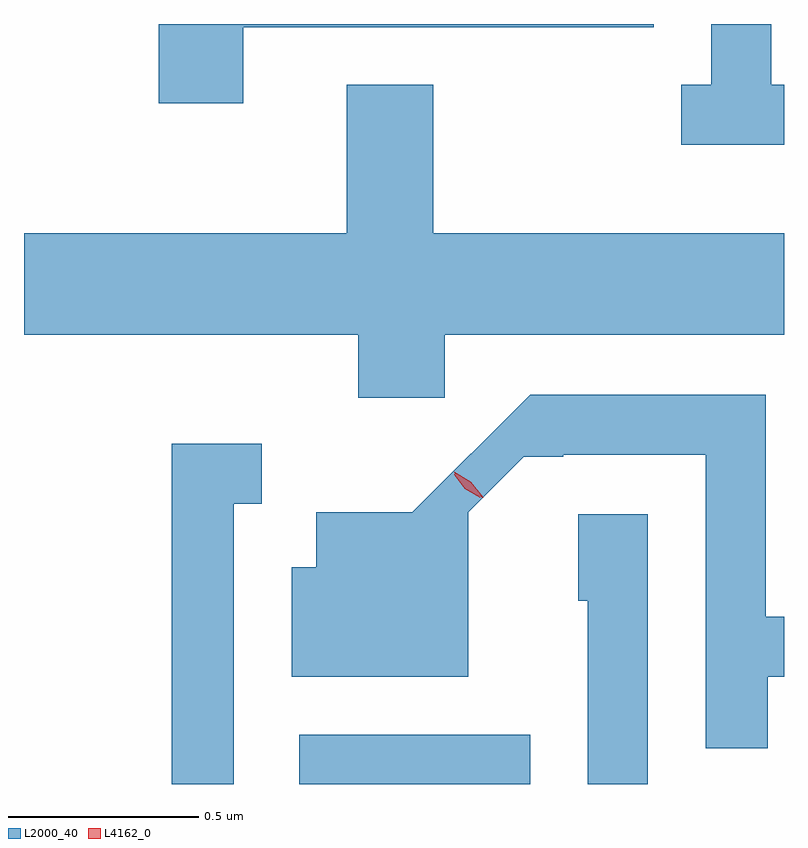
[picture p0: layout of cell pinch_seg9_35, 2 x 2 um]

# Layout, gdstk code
import gdstk
lib = gdstk.Library(unit=1e-6, precision=1e-09)
def R(c, l, rs):  # rectangles x0, y0, x1, y1
    for r in rs: c.add(gdstk.rectangle(r[:2], r[2:], *l))
def P(c, l, *ps):  # polygons
    for p in ps: c.add(gdstk.Polygon(p, *l))
L2000_40 = (2000, 40)
L4162_0 = (4162, 0)

pinch_seg9_35 = lib.new_cell('pinch_seg9_35')
R(pinch_seg9_35, L2000_40, [(1031.136,2010.614,1031.744,2010.744)])
P(pinch_seg9_35, L2000_40, [(1030.989,2012.606),(1032.069,2012.606),(1032.069,2012.614),(1030.766,2012.614),(1030.766,2012.406),(1030.989,2012.406)],
  [(1032.412,2012.454),(1032.379,2012.454),(1032.379,2012.614),(1032.221,2012.614),(1032.221,2012.454),(1032.142,2012.454),(1032.142,2012.296),(1032.412,2012.296)],
  [(1031.519,2011.796),(1032.412,2011.796),(1032.412,2012.064),(1031.489,2012.064),(1031.489,2012.454),(1031.261,2012.454),(1031.261,2012.064),(1030.412,2012.064),(1030.412,2011.796),(1031.291,2011.796),(1031.291,2011.631),(1031.519,2011.631)],
  [(1032.369,2010.896),(1032.412,2010.896),(1032.412,2011.054),(1032.364,2011.054),(1032.364,2011.639),(1031.744,2011.639),(1031.434,2011.329),(1031.181,2011.329),(1031.181,2011.184),(1031.116,2011.184),(1031.116,2010.896),(1031.581,2010.896),(1031.581,2011.329),(1031.727,2011.475),(1031.831,2011.475),(1031.831,2011.481),(1032.206,2011.481),(1032.206,2010.708),(1032.369,2010.708)],
  [(1030.964,2011.351),(1031.037,2011.351),(1031.037,2011.509),(1030.801,2011.509),(1030.801,2010.614),(1030.964,2010.614)],
  [(1032.054,2011.324),(1031.871,2011.324),(1031.871,2011.096),(1031.896,2011.096),(1031.896,2010.614),(1032.054,2010.614)])
P(pinch_seg9_35, L4162_0, [(1031.619,2011.367),(1031.575,2011.394),(1031.544,2011.435),(1031.544,2011.436),(1031.544,2011.436),(1031.588,2011.409),(1031.62,2011.368),(1031.62,2011.367)],
  [(1031.612,2011.367),(1031.572,2011.391),(1031.544,2011.428),(1031.544,2011.429),(1031.545,2011.429),(1031.585,2011.406),(1031.613,2011.368),(1031.613,2011.367)])

lib.write_gds('pinch_seg9_35.gds')
